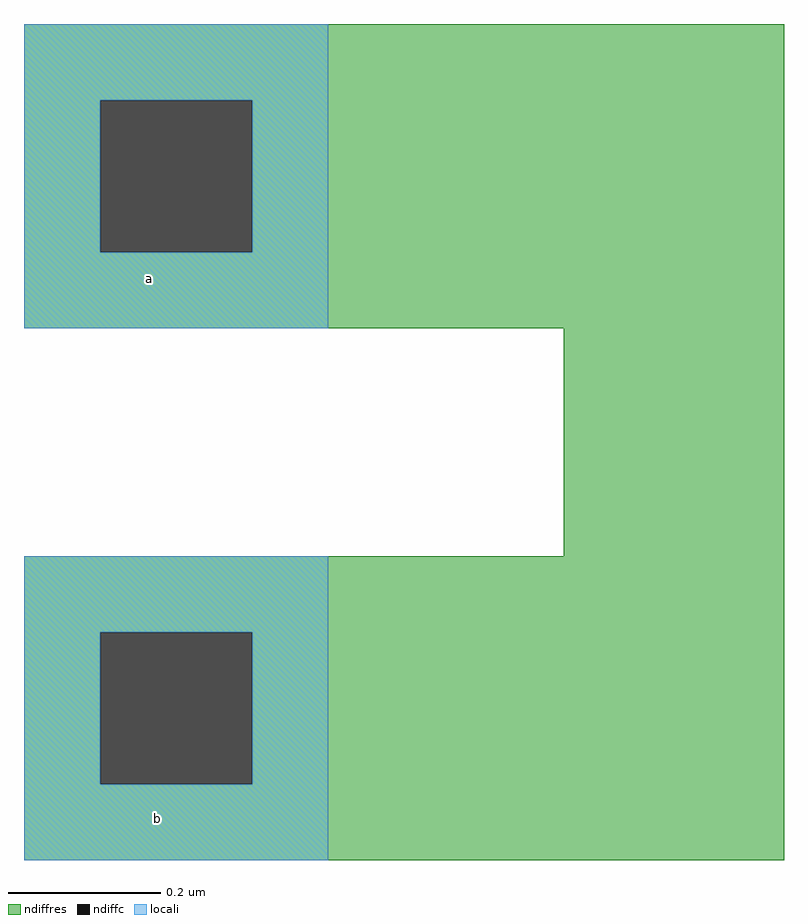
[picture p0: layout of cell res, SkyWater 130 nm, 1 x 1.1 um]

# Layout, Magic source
magic
tech sky130A
<< ndiffc >>
rect -80 10 -60 30
rect -80 -60 -60 -40
<< ndiffres >>
rect -90 30 10 40
rect -90 10 -80 30
rect -60 10 10 30
rect -90 0 10 10
rect -19 -30 10 0
rect -90 -40 10 -30
rect -90 -60 -80 -40
rect -60 -60 10 -40
rect -90 -70 10 -60
<< locali >>
rect -90 30 -50 40
rect -90 10 -80 30
rect -60 10 -50 30
rect -90 0 -50 10
rect -90 -40 -50 -30
rect -90 -60 -80 -40
rect -60 -60 -50 -40
rect -90 -70 -50 -60
<< labels >>
rlabel locali -79 4 -68 9 1 a
rlabel locali -78 -67 -67 -62 1 b
<< end >>
